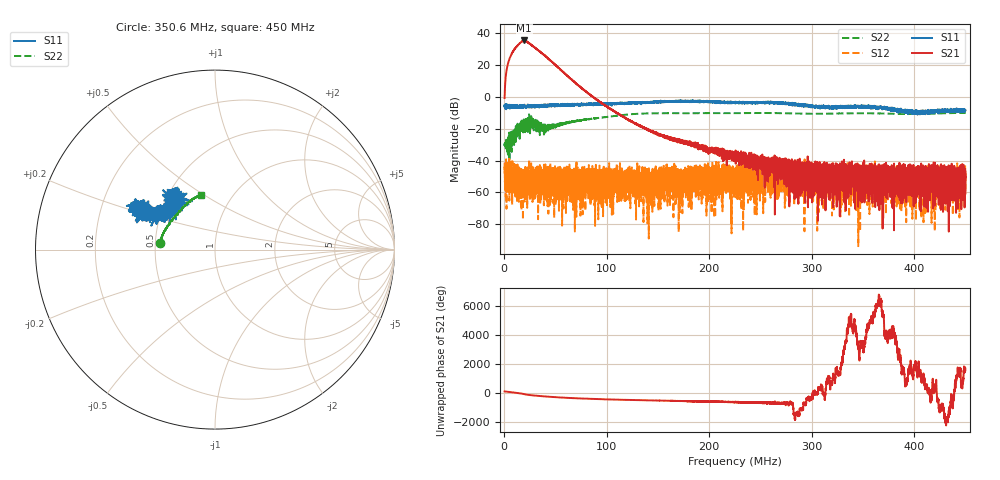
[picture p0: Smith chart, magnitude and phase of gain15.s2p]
# Hz S DB R 50
! CMT, M5065, 19127446, 24.2.4/2
! Date: 12/3/2024 4:19:32 PM
! Data: Format (Calibration Info)
! Freq	S11:dB/Ang(F2)	S21:dB/Ang(F2)	S12:dB/Ang(F2)	S22:dB/Ang(F2)
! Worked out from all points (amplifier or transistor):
!   9000 points, 300 kHz to 450 MHz, reference 50 ohm
!   highest |S21| = 35.4 dB at 19.34 MHz (marker M1)
!   |S21| within 3 dB of that: 13.27 MHz to 26.77 MHz (13.5 MHz wide, 67.4 % of centre)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
!   unconditionally stable (mu >= 1): start of sweep to end of sweep
!   at 75.26 MHz: K = 105.27, MAG = 7.5 dB, |S12| = -55.9 dB
!   at 225.2 MHz: K = 12032.92, MAG = -33.6 dB, |S12| = -57.0 dB
!   at 450 MHz: K = 44747.92, MAG = -49.5 dB, |S12| = -50.6 dB
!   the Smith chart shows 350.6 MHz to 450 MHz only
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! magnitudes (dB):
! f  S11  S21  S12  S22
! 300 kHz  -6.1  -0.7  -41.3  -29.7
! 3.198 MHz  -5.3  19.8  -47.8  -30.0
! 6.047 MHz  -7.0  25.6  -45.7  -26.4
! 19.34 MHz  -6.2  35.4  -59.4  -17.1
! 40.78 MHz  -5.2  25.2  -48.5  -19.2
! 64.36 MHz  -4.9  11.6  -51.7  -16.1
! 75.26 MHz  -4.8  5.6  -55.9  -14.7
! 81.4 MHz  -4.9  2.5  -47.4  -14.1
! 90.1 MHz  -4.3  -1.7  -47.5  -13.4
! 150.2 MHz  -3.4  -23.3  -54.8  -10.3
! 193.6 MHz  -2.6  -32.0  -46.3  -10.2
! 211.8 MHz  -3.4  -36.2  -45.2  -10.2
! 218.9 MHz  -3.4  -35.7  -60.2  -10.2
! 225.2 MHz  -3.5  -36.6  -57.0  -10.2
! 262.2 MHz  -3.6  -46.9  -51.1  -10.2
! 300.1 MHz  -6.4  -54.0  -42.8  -10.6
! 318.2 MHz  -6.5  -51.8  -64.9  -10.5
! 326.6 MHz  -6.2  -44.2  -60.3  -10.4
! 338.7 MHz  -6.3  -51.0  -46.7  -10.3
! 375.1 MHz  -7.2  -53.2  -49.8  -10.5
! 418.6 MHz  -9.3  -70.1  -47.3  -10.5
! 450 MHz  -8.5  -50.6  -50.6  -10.1
